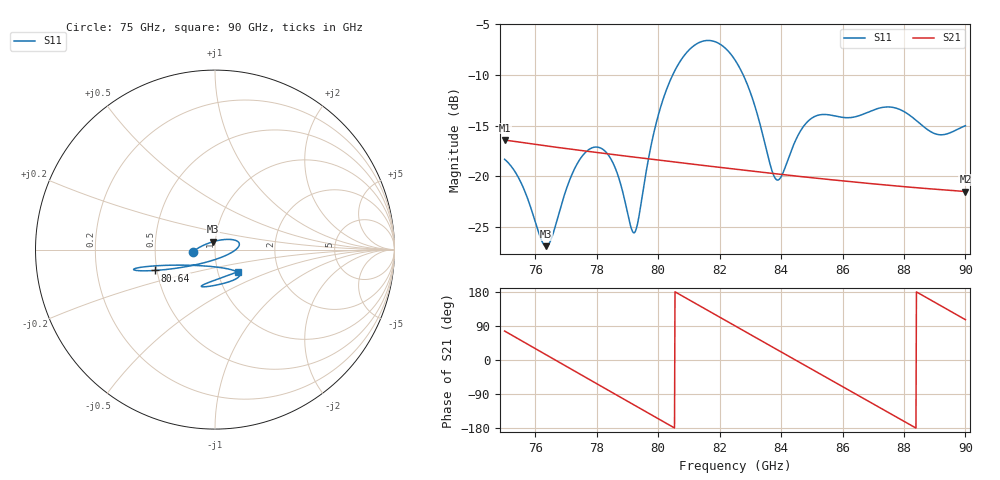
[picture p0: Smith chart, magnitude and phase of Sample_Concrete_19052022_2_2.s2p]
!SWISSto12 MCK measurement data
!name=Sample_Concrete_19052022_2_2
!thickness[mm]=18.000
# GHz S RI R 50.0
!freq ReS11 ImS11 ReS21 ImS21 ReS12 ImS12 ReS22 ImS22
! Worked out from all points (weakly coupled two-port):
!   961 points, 75 GHz to 90 GHz, reference 50 ohm
!   highest |S21| = -16.43 dB at 75 GHz (marker M1); lowest = -21.5 dB at 90 GHz (marker M2)
!   lowest |S11| = -26.9 dB at 76.36 GHz (marker M3), VSWR 1.09, Z = 48.6 + j4.25 ohm
!   |S11| at or under -10 dB: start of sweep to 80.47 GHz; 82.76 GHz to end of sweep
!   S12 and S22 are empty: the file has one direction only
!   S11 on the Smith chart (normalised r, x): 75 GHz: 0.78, -0.02; 80.64 GHz: 0.49, -0.13; 90 GHz: 1.25, -0.32
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75  -0.1207 -0.011  0.0354 0.1466  0 0  0 0
75.53125  -0.0927 0.0091  0.0908 0.1156  0 0  0 0
76.35938  -0.012 0.0436  0.1372 0.0327  0 0  0 0
77.125  0.0778 0.057  0.1261 -0.0513  0 0  0 0
77.5  0.1128 0.052  0.1033 -0.0851  0 0  0 0
77.95312  0.1347 0.0351  0.0648 -0.1141  0 0  0 0
78.39062  0.1261 0.00948  0.0209 -0.127  0 0  0 0
78.6875  0.1006 -0.0113  -0.0097 -0.1267  0 0  0 0
79.21875  0.0158 -0.0502  -0.0601 -0.1087  0 0  0 0
79.34375  -0.0106 -0.059  -0.0703 -0.1016  0 0  0 0
79.70312  -0.0964 -0.0819  -0.0949 -0.0762  0 0  0 0
80  -0.1739 -0.0972  -0.1089 -0.0509  0 0  0 0
80.64062  -0.3335 -0.1162  -0.1166 0.00907  0 0  0 0
81.5625  -0.4527 -0.1122  -0.077 0.0821  0 0  0 0
82.5  -0.3624 -0.0927  -0.000215 0.1084  0 0  0 0
83.03125  -0.2354 -0.0867  0.0436 0.0968  0 0  0 0
83.84375  -0.0201 -0.0942  0.0903 0.0491  0 0  0 0
85  0.1365 -0.137  0.0895 -0.0407  0 0  0 0
86.25  0.0393 -0.1905  0.0136 -0.0931  0 0  0 0
87.5  -0.0751 -0.2063  -0.0679 -0.0594  0 0  0 0
89.07812  0.038 -0.1563  -0.0737 0.0446  0 0  0 0
90  0.1278 -0.123  -0.0238 0.0807  0 0  0 0
